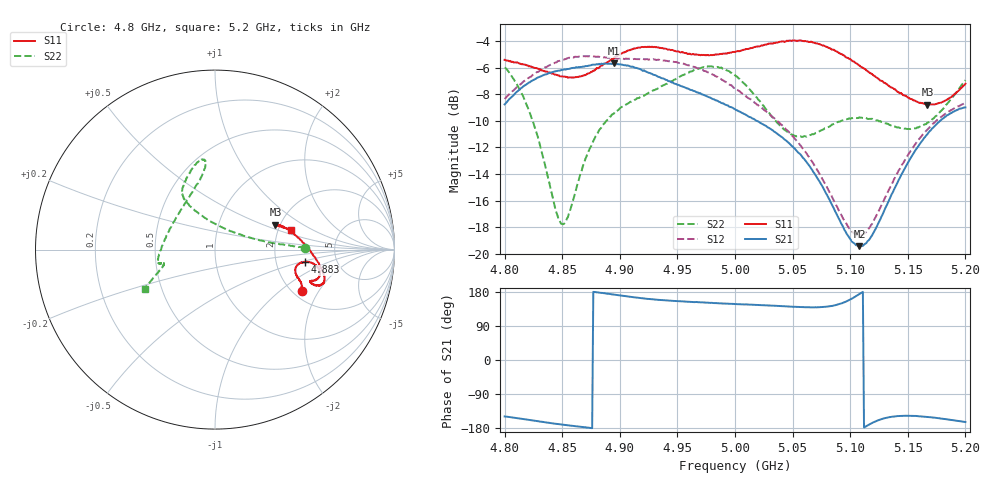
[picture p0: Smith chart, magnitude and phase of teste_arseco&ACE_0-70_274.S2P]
! Network Analyzer HP8722D
! Hewlett-Packard
! Data name: Linha & Wilkinson
! Saver's name: Rodrigo Anjos
! Comments: Teste da utilização de aquisição
! continua pelo VNA HP8722D
! Time and date: 8/5/2025 15:02
!  Frequency  S11  S21  S12  S22
# HZ  S  MA R 50
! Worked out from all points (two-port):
!   401 points, 4.8 GHz to 5.2 GHz, reference 50 ohm
!   highest |S21| = -5.68 dB at 4.895 GHz (marker M1); lowest = -19.4 dB at 5.108 GHz (marker M2)
!   |S21| within 3 dB of the highest: 4.801 GHz to 4.989 GHz (188 MHz wide, 3.84 % of centre)
!   lowest |S11| = -8.8 dB at 5.167 GHz (marker M3), VSWR 2.15, Z = 94.5 + j30.2 ohm
!   |S11| at or under -10 dB: nowhere
!   |S22| runs from -17.8 to -5.9 dB; largest |S21 - S12| = 1.1
!   S11 on the Smith chart (normalised r, x): 4.8 GHz: 2.24, -1.44; 4.883 GHz: 2.94, -0.56; 5.2 GHz: 2.33, +0.64
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4.8e9  0.5361 -25.3  0.3649 -149.0  0.3826 10.5  0.5016 1.3
4.812e9  0.5215 -22.2  0.4114 -153.7  0.4284 8.8  0.423 2.7
4.823e9  0.5058 -20.3  0.4458 -158.8  0.4639 7.2  0.328 6.3
4.845e9  0.4711 -16.8  0.4865 -168.5  0.5248 3.6  0.1429 42.1
4.849e9  0.4653 -15.8  0.4908 -170.1  0.5349 2.9  0.1298 59.4
4.855e9  0.4595 -14.2  0.4954 -172.4  0.5447 2.0  0.1377 85.3
4.867e9  0.4656 -10.7  0.5042 -176.7  0.553 0.3  0.2061 112.2
4.883e9  0.507 -8.1  0.5152 177.3  0.5485 -0.8  0.2948 120.4
4.895e9  0.546 -7.8  0.52 172.6  0.5422 -0.9  0.3371 121.1
4.914e9  0.5931 -11.2  0.5003 164.9  0.5397 -0.7  0.3813 118.5
4.934e9  0.5961 -15.5  0.4625 158.6  0.5372 -1.3  0.4201 112.6
4.975e9  0.5582 -18.6  0.3923 151.3  0.4855 -5.2  0.5068 99.1
5e9  0.5743 -19.3  0.3499 147.6  0.4208 -5.2  0.4691 96.7
5.044e9  0.6288 -17.5  0.2675 141.5  0.2947 2.9  0.2907 131.3
5.067e9  0.6248 -13.4  0.2067 139.0  0.2221 9.5  0.2822 164.5
5.097e9  0.5463 -3.2  0.1188 155.0  0.1292 35.7  0.3207 -171.1
5.108e9  0.5108 2.0  0.1068 174.0  0.1168 57.0  0.3261 -167.5
5.118e9  0.4766 6.9  0.1157 -167.6  0.128 76.6  0.3215 -165.9
5.134e9  0.4265 14.7  0.16 -150.8  0.1754 94.8  0.3053 -165.5
5.167e9  0.3642 22.3  0.2816 -150.3  0.2937 102.5  0.3114 -161.5
5.183e9  0.3779 20.3  0.3284 -156.2  0.3371 102.5  0.3621 -156.5
5.2e9  0.4359 14.9  0.3552 -163.6  0.3689 102.9  0.4498 -150.6
